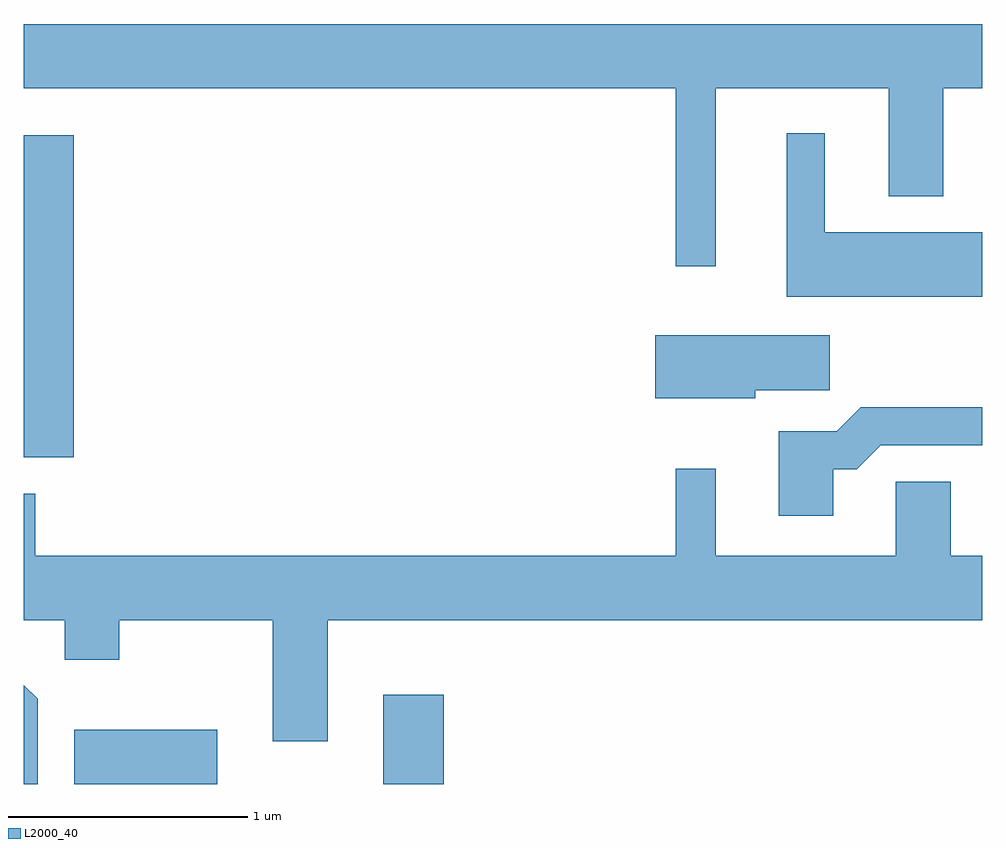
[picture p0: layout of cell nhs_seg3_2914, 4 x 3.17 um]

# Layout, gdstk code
import gdstk
lib = gdstk.Library(unit=1e-6, precision=1e-09)
def R(c, l, rs):  # rectangles x0, y0, x1, y1
    for r in rs: c.add(gdstk.rectangle(r[:2], r[2:], *l))
def P(c, l, *ps):  # polygons
    for p in ps: c.add(gdstk.Polygon(p, *l))
L2000_40 = (2000, 40)

nhs_seg3_2914 = lib.new_cell('nhs_seg3_2914')
R(nhs_seg3_2914, L2000_40, [(269.821,1231.892,270.419,1232.119), (271.111,1231.892,271.364,1232.264), (269.611,1233.256,269.819,1234.599)])
P(nhs_seg3_2914, L2000_40, [(272.499,1234.796),(273.221,1234.796),(273.221,1234.346),(273.449,1234.346),(273.449,1234.796),(273.611,1234.796),(273.611,1235.064),(269.611,1235.064),(269.611,1234.796),(272.331,1234.796),(272.331,1234.053),(272.499,1234.053)],
  [(273.611,1234.194),(272.954,1234.194),(272.954,1234.608),(272.796,1234.608),(272.796,1233.926),(273.611,1233.926)],
  [(272.664,1233.536),(272.974,1233.536),(272.974,1233.764),(272.246,1233.764),(272.246,1233.501),(272.664,1233.501)],
  [(272.989,1233.206),(273.087,1233.206),(273.187,1233.306),(273.611,1233.306),(273.611,1233.464),(273.104,1233.464),(273.004,1233.364),(272.761,1233.364),(272.761,1233.011),(272.989,1233.011)],
  [(270.879,1232.576),(273.611,1232.576),(273.611,1232.844),(273.479,1232.844),(273.479,1233.154),(273.251,1233.154),(273.251,1232.844),(272.499,1232.844),(272.499,1233.208),(272.331,1233.208),(272.331,1232.844),(269.659,1232.844),(269.659,1233.104),(269.611,1233.104),(269.611,1232.576),(269.781,1232.576),(269.781,1232.411),(270.009,1232.411),(270.009,1232.576),(270.651,1232.576),(270.651,1232.071),(270.879,1232.071)],
  [(269.669,1232.247),(269.611,1232.305),(269.611,1231.892),(269.669,1231.892)])

lib.write_gds('nhs_seg3_2914.gds')
